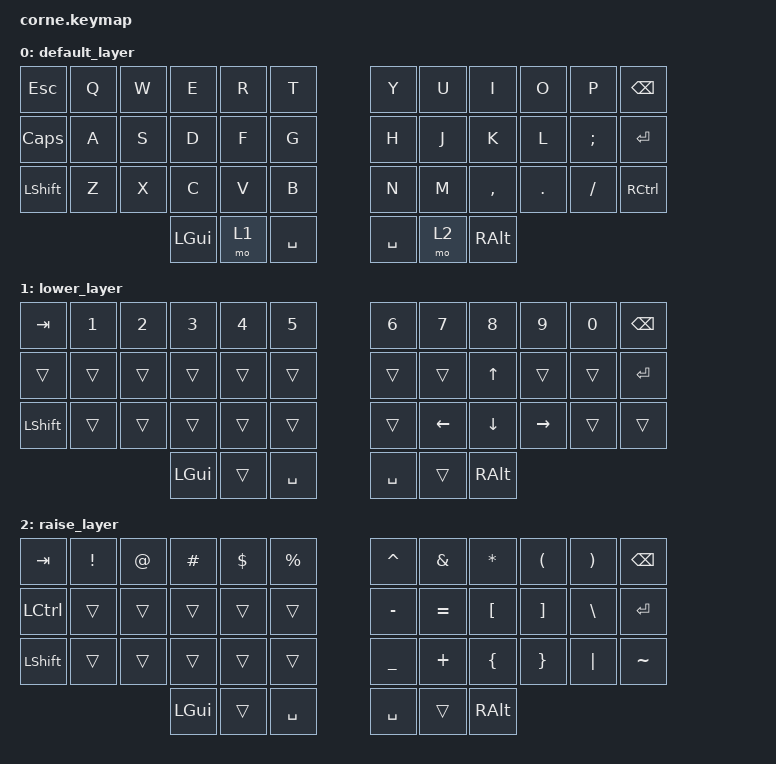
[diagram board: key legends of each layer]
/*
 * Copyright (c) 2020 The ZMK Contributors
 *
 * SPDX-License-Identifier: MIT
 */

#include <behaviors.dtsi>
#include <dt-bindings/zmk/keys.h>

/ {
    keymap {
        compatible = "zmk,keymap";

        default_layer {
            // -----------------------------------------------------------------------------------------
            // |  TAB |  Q  |  W  |  E  |  R  |  T  |   |  Y  |  U   |  I  |  O  |  P  | BKSP |
            // | CTRL |  A  |  S  |  D  |  F  |  G  |   |  H  |  J   |  K  |  L  |  ;  |  '   |
            // | SHFT |  Z  |  X  |  C  |  V  |  B  |   |  N  |  M   |  ,  |  .  |  /  | ESC  |
            //                    | GUI | LWR | SPC |   | ENT | RSE  | ALT |

            bindings = <
&kp ESCAPE    &kp Q  &kp W  &kp E     &kp R  &kp T        &kp Y      &kp U  &kp I      &kp O    &kp P     &kp BSPC
&kp CAPSLOCK  &kp A  &kp S  &kp D     &kp F  &kp G        &kp H      &kp J  &kp K      &kp L    &kp SEMI  &kp ENTER
&kp LSHFT     &kp Z  &kp X  &kp C     &kp V  &kp B        &kp N      &kp M  &kp COMMA  &kp DOT  &kp FSLH  &kp RIGHT_CONTROL
                            &kp LGUI  &mo 1  &kp SPACE    &kp SPACE  &mo 2  &kp RALT
            >;
        };

        lower_layer {
            // -----------------------------------------------------------------------------------------
            // |  TAB |  1  |  2  |  3  |  4  |  5  |   |  6  |  7  |  8  |  9  |  0  | BKSP |
            // | BTCLR| BT1 | BT2 | BT3 | BT4 | BT5 |   | LFT | DWN |  UP | RGT |     |      |
            // | SHFT |     |     |     |     |     |   |     |     |     |     |     |      |
            //                    | GUI |     | SPC |   | ENT |     | ALT |

            bindings = <
&kp TAB    &kp N1  &kp N2  &kp N3    &kp N4  &kp N5       &kp N6     &kp N7          &kp N8          &kp N9           &kp N0  &kp BSPC
&trans     &trans  &trans  &trans    &trans  &trans       &trans     &trans          &kp UP          &trans           &trans  &kp ENTER
&kp LSHFT  &trans  &trans  &trans    &trans  &trans       &trans     &kp LEFT_ARROW  &kp DOWN_ARROW  &kp RIGHT_ARROW  &trans  &trans
                           &kp LGUI  &trans  &kp SPACE    &kp SPACE  &trans          &kp RALT
            >;
        };

        raise_layer {
            // -----------------------------------------------------------------------------------------
            // |  TAB |  !  |  @  |  #  |  $  |  %  |   |  ^  |  &  |  *  |  (  |  )  | BKSP |
            // | CTRL |     |     |     |     |     |   |  -  |  =  |  [  |  ]  |  \  |  `   |
            // | SHFT |     |     |     |     |     |   |  _  |  +  |  {  |  }  | "|" |  ~   |
            //                    | GUI |     | SPC |   | ENT |     | ALT |

            bindings = <
&kp TAB    &kp EXCL  &kp AT  &kp HASH  &kp DLLR  &kp PRCNT    &kp CARET  &kp AMPS   &kp ASTRK  &kp LPAR  &kp RPAR  &kp BSPC
&kp LCTRL  &trans    &trans  &trans    &trans    &trans       &kp MINUS  &kp EQUAL  &kp LBKT   &kp RBKT  &kp BSLH  &kp ENTER
&kp LSHFT  &trans    &trans  &trans    &trans    &trans       &kp UNDER  &kp PLUS   &kp LBRC   &kp RBRC  &kp PIPE  &kp TILDE
                             &kp LGUI  &trans    &kp SPACE    &kp SPACE  &trans     &kp RALT
            >;
        };
    };
};
